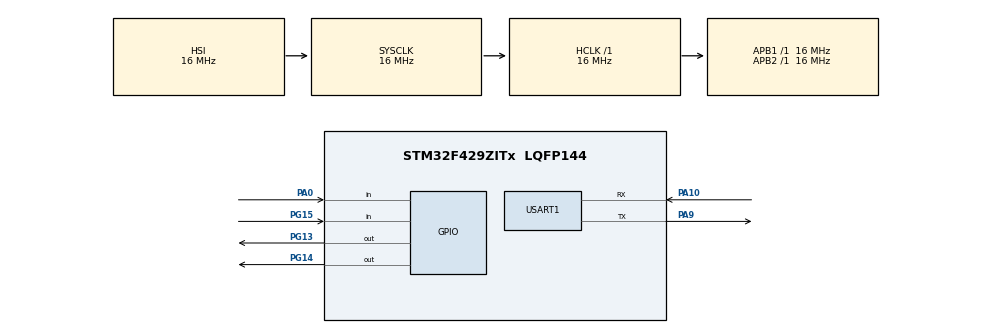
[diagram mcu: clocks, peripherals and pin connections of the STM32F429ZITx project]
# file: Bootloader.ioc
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Mcu.Family=STM32F4
Mcu.Name=STM32F429ZITx
Mcu.Package=LQFP144
NVIC.PriorityGroup=NVIC_PRIORITYGROUP_4
NVIC.USART1_IRQn=true\:0\:0\:false\:false\:true\:true\:true\:true
PA0/WKUP.GPIO_PuPd=GPIO_PULLDOWN
PA0/WKUP.Signal=GPIO_Input
PA10.Mode=Asynchronous
PA10.Signal=USART1_RX
PA13.Mode=Serial_Wire
PA13.Signal=SYS_JTMS-SWDIO
PA14.Mode=Serial_Wire
PA14.Signal=SYS_JTCK-SWCLK
PA9.Mode=Asynchronous
PA9.Signal=USART1_TX
PG13.Signal=GPIO_Output
PG14.Signal=GPIO_Output
PG15.Signal=GPIO_Input
ProjectManager.HeapSize=0x200
ProjectManager.StackSize=0x400
ProjectManager.TargetToolchain=STM32CubeIDE
RCC.AHBFreq_Value=16000000
RCC.APB1Freq_Value=16000000
RCC.APB2Freq_Value=16000000
RCC.CortexFreq_Value=16000000
RCC.HSE_VALUE=25000000
RCC.HSI_VALUE=16000000
RCC.LSE_VALUE=32768
RCC.SYSCLKFreq_VALUE=16000000
RCC.VCOOutputFreq_Value=192000000
USART1.VirtualMode=VM_ASYNC
board=custom

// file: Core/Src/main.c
/* USER CODE BEGIN Header */
/**
  ******************************************************************************
  * @file           : main.c
  * @brief          : Main program body
  ******************************************************************************
  * @attention
  *
  * Copyright (c) 2026 STMicroelectronics.
  * All rights reserved.
  *
  * This software is licensed under terms that can be found in the LICENSE file
  * in the root directory of this software component.
  * If no LICENSE file comes with this software, it is provided AS-IS.
  *
  ******************************************************************************
  */
/* USER CODE END Header */
#include "main.h"

/* USER CODE BEGIN Includes */
#include "bl_jump.h"
#include "app_header.h"
#include "bl_ota.h"
#include "flash_operations.h"
#include "ota_image.h"
#include <stdio.h>
#include <string.h>
/* USER CODE END Includes */

UART_HandleTypeDef huart1;

void SystemClock_Config(void);
static void MX_GPIO_Init(void);
static void MX_USART1_UART_Init(void);

/* USER CODE BEGIN 0 */

static uint32_t mem_base = 0;  // used with external or dual flash
static uint32_t mem_cursor = 0;
static uint32_t ota_image_total_size = 16;  // expected OTA Header size

void ota_mem_set_total_size(uint32_t size)
{
    ota_image_total_size = size;
}

int ota_read_mem(uint8_t *buf, uint32_t len)
{
    if (mem_cursor + len > ota_image_total_size)
        return -1;

    memcpy(buf, &ota_image_bin[mem_base + mem_cursor], len);  // this function should be replaced accordingly

    mem_cursor += len;
    return 0;
}

/* USER CODE END 0 */

int main(void)
{

  /* MCU Configuration--------------------------------------------------------*/

  /* Reset of all peripherals, Initializes the Flash interface and the Systick. */
  HAL_Init();

  /* Configure the system clock */
  SystemClock_Config();

  /* Initialize all configured peripherals */
  MX_GPIO_Init();
  MX_USART1_UART_Init();
  /* USER CODE BEGIN 2 */
  HAL_Delay(100);
  // Force cursor to start of new line before anything
  //HAL_UART_Transmit(&huart1, (uint8_t *)"\r\n", 2, 100);
  HAL_UART_Transmit(&huart1, (uint8_t *)"Inside Bootloader!!\r\n", 21, 100);

  // ADD THIS BLOCK:
  if (HAL_GPIO_ReadPin(GPIOA, GPIO_PIN_0) == GPIO_PIN_SET){
	  HAL_Delay(50);
	if (HAL_GPIO_ReadPin(GPIOA, GPIO_PIN_0) == GPIO_PIN_SET)
  {
      HAL_UART_Transmit(&huart1, (uint8_t *)"Button Pressed - Forcing OTA!\r\n", 31, 100);
      HAL_Delay(100);

      ota_stream_t stream =
      {
          .read = ota_read_mem,
          .set_total_size = ota_mem_set_total_size
      };

      bl_ota_ctx_t ctx;
      if (bl_ota_run(&ctx, &stream) == 0)
      {
          HAL_UART_Transmit(&huart1, (uint8_t *)"OTA Done! Rebooting...\r\n", 24, 100);
          HAL_Delay(100);
          NVIC_SystemReset();
      }
      else
      {
          HAL_UART_Transmit(&huart1, (uint8_t *)"OTA Failed!\r\n", 13, 100);
      }
  }
  }

  __HAL_RCC_CLEAR_RESET_FLAGS();

  // Check OTA flag value directly
  uint32_t flag = flash_read_ota_flag();
  char msg[40];
  sprintf(msg, "OTA Flag value: %lu\r\n", flag);
  HAL_UART_Transmit(&huart1, (uint8_t *)msg, strlen(msg), 100);

  if (check_ota_request() == 0)
      HAL_UART_Transmit(&huart1, (uint8_t *)"OTA requested!\r\n", 16, 100);
  else
      HAL_UART_Transmit(&huart1, (uint8_t *)"No OTA, jumping\r\n", 17, 100);

   if (check_ota_request() == 0)
   {
 	  HAL_UART_Transmit(&huart1, (uint8_t *)"Performing OTA...\n", 18, 100);

 	 HAL_Delay(100);

 	  ota_stream_t stream =
 	  {
 	      .read = ota_read_mem,
 	      .set_total_size = ota_mem_set_total_size
 	  };

 	  bl_ota_ctx_t ctx;
 	 if (bl_ota_run(&ctx, &stream) != 0)

 	 {

 		 HAL_UART_Transmit(&huart1, (uint8_t *)"OTA Failed...\n", 14, 100);
 		  while (1)
 		  {
 			  HAL_GPIO_TogglePin(GPIOG, GPIO_PIN_13);
 			  HAL_Delay(250);
 		  }
 	 }
 	 else {
 		 HAL_UART_Transmit(&huart1, (uint8_t *)"OTA Flashed Successfully, Jumping to app...\n", 44, 100);

 		 //flash_write_ota_flag(0);   //  MUST BE HERE
 		 NVIC_SystemReset();   // ← clean reset, bootloader runs again
 	 }

   }
   int err = bootloader_is_app_valid();
   if (err != 0)
   {
 	  HAL_UART_Transmit(&huart1, (uint8_t *)"Failed to Jump!! \r\n", 18, 100);
 	  switch (err){
 	  case 1:
 		  HAL_UART_Transmit(&huart1, (uint8_t *)"MAGIC ERROR!!\r\n", 15, 100);
 		  break;

 	  case 2:
 		  HAL_UART_Transmit(&huart1, (uint8_t *)"RESET ERROR!!\r\n", 15, 100);
 		  break;

 	  case 3:
 		  HAL_UART_Transmit(&huart1, (uint8_t *)"SIZE ERROR!!\r\n", 14, 100);
 		  break;

 	  case 4:
 		  HAL_UART_Transmit(&huart1, (uint8_t *)"CRC ERROR!!\r\n", 13, 100);
 			char dbg[60];
 		 		const app_header_t *h = (const app_header_t *)APP_HEADER_ADDR;
 		 		sprintf(dbg, "magic=0x%08lX size=%lu crc=0x%08lX\r\n", h->magic, h->size, h->crc);
 		 		HAL_UART_Transmit(&huart1, (uint8_t *)dbg, strlen(dbg), 100);
 		  break;

 	  default:
 		  HAL_UART_Transmit(&huart1, (uint8_t *)"ERROR!!\r\n", 9, 100);
 		  break;
 	  }

 	  while (1)
 	  {
 		  HAL_GPIO_TogglePin(GPIOG, GPIO_PIN_14);
 		  HAL_Delay(1000);
 	  }
   }
  JumpToApplication();
  /* USER CODE END 2 */

  /* Infinite loop */
  while (1)
  {

    /* USER CODE BEGIN 3 */
	  //this led will blink only if bootloader fails to jump to app
	  HAL_GPIO_TogglePin(GPIOG, GPIO_PIN_13);
	  HAL_Delay(5000);
  }
  /* USER CODE END 3 */
}

void SystemClock_Config(void)
{
  RCC_OscInitTypeDef RCC_OscInitStruct = {0};
  RCC_ClkInitTypeDef RCC_ClkInitStruct = {0};

  /** Configure the main internal regulator output voltage
  */
  __HAL_RCC_PWR_CLK_ENABLE();
  __HAL_PWR_VOLTAGESCALING_CONFIG(PWR_REGULATOR_VOLTAGE_SCALE3);

  /** Initializes the RCC Oscillators according to the specified parameters
  * in the RCC_OscInitTypeDef structure.
  */
  RCC_OscInitStruct.OscillatorType = RCC_OSCILLATORTYPE_HSI;
  RCC_OscInitStruct.HSIState = RCC_HSI_ON;
  RCC_OscInitStruct.HSICalibrationValue = RCC_HSICALIBRATION_DEFAULT;
  RCC_OscInitStruct.PLL.PLLState = RCC_PLL_NONE;
  if (HAL_RCC_OscConfig(&RCC_OscInitStruct) != HAL_OK)
  {
    Error_Handler();
  }

  /** Initializes the CPU, AHB and APB buses clocks
  */
  RCC_ClkInitStruct.ClockType = RCC_CLOCKTYPE_HCLK|RCC_CLOCKTYPE_SYSCLK
                              |RCC_CLOCKTYPE_PCLK1|RCC_CLOCKTYPE_PCLK2;
  RCC_ClkInitStruct.SYSCLKSource = RCC_SYSCLKSOURCE_HSI;
  RCC_ClkInitStruct.AHBCLKDivider = RCC_SYSCLK_DIV1;
  RCC_ClkInitStruct.APB1CLKDivider = RCC_HCLK_DIV1;
  RCC_ClkInitStruct.APB2CLKDivider = RCC_HCLK_DIV1;

  if (HAL_RCC_ClockConfig(&RCC_ClkInitStruct, FLASH_LATENCY_0) != HAL_OK)
  {
    Error_Handler();
  }
}

static void MX_USART1_UART_Init(void)
{

  huart1.Instance = USART1;
  huart1.Init.BaudRate = 115200;
  huart1.Init.WordLength = UART_WORDLENGTH_8B;
  huart1.Init.StopBits = UART_STOPBITS_1;
  huart1.Init.Parity = UART_PARITY_NONE;
  huart1.Init.Mode = UART_MODE_TX_RX;
  huart1.Init.HwFlowCtl = UART_HWCONTROL_NONE;
  huart1.Init.OverSampling = UART_OVERSAMPLING_16;
  if (HAL_UART_Init(&huart1) != HAL_OK)
  {
    Error_Handler();
  }

}

static void MX_GPIO_Init(void)
{
  GPIO_InitTypeDef GPIO_InitStruct = {0};

  /* GPIO Ports Clock Enable */
  __HAL_RCC_GPIOA_CLK_ENABLE();
  __HAL_RCC_GPIOG_CLK_ENABLE();

  /*Configure GPIO pin Output Level */
  HAL_GPIO_WritePin(GPIOG, GPIO_PIN_13|GPIO_PIN_14, GPIO_PIN_RESET);

  /*Configure GPIO pin : PA0 */
  GPIO_InitStruct.Pin = GPIO_PIN_0;
  GPIO_InitStruct.Mode = GPIO_MODE_INPUT;
  GPIO_InitStruct.Pull = GPIO_PULLDOWN;
  HAL_GPIO_Init(GPIOA, &GPIO_InitStruct);

  /*Configure GPIO pins : PG13 PG14 */
  GPIO_InitStruct.Pin = GPIO_PIN_13|GPIO_PIN_14;
  GPIO_InitStruct.Mode = GPIO_MODE_OUTPUT_PP;
  GPIO_InitStruct.Pull = GPIO_NOPULL;
  GPIO_InitStruct.Speed = GPIO_SPEED_FREQ_LOW;
  HAL_GPIO_Init(GPIOG, &GPIO_InitStruct);

  /*Configure GPIO pin : PG15 */
  GPIO_InitStruct.Pin = GPIO_PIN_15;
  GPIO_InitStruct.Mode = GPIO_MODE_INPUT;
  GPIO_InitStruct.Pull = GPIO_NOPULL;
  HAL_GPIO_Init(GPIOG, &GPIO_InitStruct);

}

void Error_Handler(void)
{
  __disable_irq();
  while (1)
  {
  }
}
